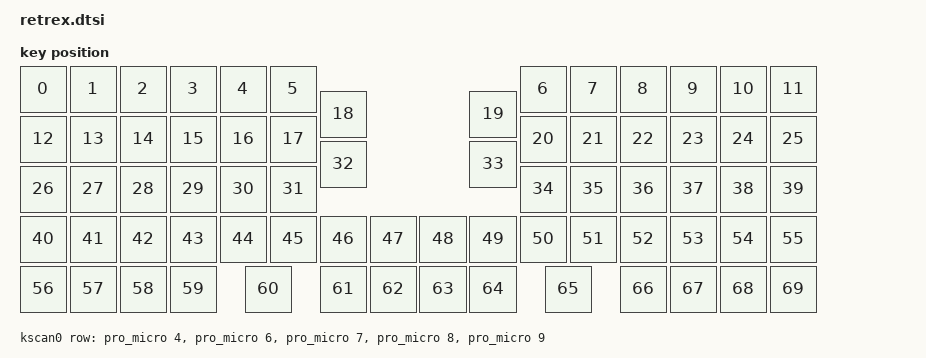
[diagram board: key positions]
/*
 * Copyright (c) 2021 The ZMK Contributors
 *
 * SPDX-License-Identifier: MIT
 */

#include <dt-bindings/zmk/matrix_transform.h>
#include <physical_layouts.dtsi>

/ {
    physical_layout0: physical_layout_0 {
        compatible = "zmk,physical-layout";
        display-name = "default_transform";

        kscan = <&kscan0>;
        transform = <&matrix_transform0>;

        keys  //                     w   h    x    y     rot    rx    ry
            = <&key_physical_attrs 100 100    0    0       0     0     0>
            , <&key_physical_attrs 100 100  100    0       0     0     0>
            , <&key_physical_attrs 100 100  200    0       0     0     0>
            , <&key_physical_attrs 100 100  300    0       0     0     0>
            , <&key_physical_attrs 100 100  400    0       0     0     0>
            , <&key_physical_attrs 100 100  500    0       0     0     0>
            , <&key_physical_attrs 100 100 1000    0       0     0     0>
            , <&key_physical_attrs 100 100 1100    0       0     0     0>
            , <&key_physical_attrs 100 100 1200    0       0     0     0>
            , <&key_physical_attrs 100 100 1300    0       0     0     0>
            , <&key_physical_attrs 100 100 1400    0       0     0     0>
            , <&key_physical_attrs 100 100 1500    0       0     0     0>
            , <&key_physical_attrs 100 100    0  100       0     0     0>
            , <&key_physical_attrs 100 100  100  100       0     0     0>
            , <&key_physical_attrs 100 100  200  100       0     0     0>
            , <&key_physical_attrs 100 100  300  100       0     0     0>
            , <&key_physical_attrs 100 100  400  100       0     0     0>
            , <&key_physical_attrs 100 100  500  100       0     0     0>
            , <&key_physical_attrs 100 100  600   50       0     0     0>
            , <&key_physical_attrs 100 100  900   50       0     0     0>
            , <&key_physical_attrs 100 100 1000  100       0     0     0>
            , <&key_physical_attrs 100 100 1100  100       0     0     0>
            , <&key_physical_attrs 100 100 1200  100       0     0     0>
            , <&key_physical_attrs 100 100 1300  100       0     0     0>
            , <&key_physical_attrs 100 100 1400  100       0     0     0>
            , <&key_physical_attrs 100 100 1500  100       0     0     0>
            , <&key_physical_attrs 100 100    0  200       0     0     0>
            , <&key_physical_attrs 100 100  100  200       0     0     0>
            , <&key_physical_attrs 100 100  200  200       0     0     0>
            , <&key_physical_attrs 100 100  300  200       0     0     0>
            , <&key_physical_attrs 100 100  400  200       0     0     0>
            , <&key_physical_attrs 100 100  500  200       0     0     0>
            , <&key_physical_attrs 100 100  600  150       0     0     0>
            , <&key_physical_attrs 100 100  900  150       0     0     0>
            , <&key_physical_attrs 100 100 1000  200       0     0     0>
            , <&key_physical_attrs 100 100 1100  200       0     0     0>
            , <&key_physical_attrs 100 100 1200  200       0     0     0>
            , <&key_physical_attrs 100 100 1300  200       0     0     0>
            , <&key_physical_attrs 100 100 1400  200       0     0     0>
            , <&key_physical_attrs 100 100 1500  200       0     0     0>
            , <&key_physical_attrs 100 100    0  300       0     0     0>
            , <&key_physical_attrs 100 100  100  300       0     0     0>
            , <&key_physical_attrs 100 100  200  300       0     0     0>
            , <&key_physical_attrs 100 100  300  300       0     0     0>
            , <&key_physical_attrs 100 100  400  300       0     0     0>
            , <&key_physical_attrs 100 100  500  300       0     0     0>
            , <&key_physical_attrs 100 100  600  300       0     0     0>
            , <&key_physical_attrs 100 100  700  300       0     0     0>
            , <&key_physical_attrs 100 100  800  300       0     0     0>
            , <&key_physical_attrs 100 100  900  300       0     0     0>
            , <&key_physical_attrs 100 100 1000  300       0     0     0>
            , <&key_physical_attrs 100 100 1100  300       0     0     0>
            , <&key_physical_attrs 100 100 1200  300       0     0     0>
            , <&key_physical_attrs 100 100 1300  300       0     0     0>
            , <&key_physical_attrs 100 100 1400  300       0     0     0>
            , <&key_physical_attrs 100 100 1500  300       0     0     0>
            , <&key_physical_attrs 100 100    0  400       0     0     0>
            , <&key_physical_attrs 100 100  100  400       0     0     0>
            , <&key_physical_attrs 100 100  200  400       0     0     0>
            , <&key_physical_attrs 100 100  300  400       0     0     0>
            , <&key_physical_attrs 100 100  450  400       0     0     0>
            , <&key_physical_attrs 100 100  600  400       0     0     0>
            , <&key_physical_attrs 100 100  700  400       0     0     0>
            , <&key_physical_attrs 100 100  800  400       0     0     0>
            , <&key_physical_attrs 100 100  900  400       0     0     0>
            , <&key_physical_attrs 100 100 1050  400       0     0     0>
            , <&key_physical_attrs 100 100 1200  400       0     0     0>
            , <&key_physical_attrs 100 100 1300  400       0     0     0>
            , <&key_physical_attrs 100 100 1400  400       0     0     0>
            , <&key_physical_attrs 100 100 1500  400       0     0     0>
            ;

    kscan0: kscan {
        compatible = "zmk,kscan-gpio-matrix";

        diode-direction = "col2row";
        row-gpios
            = <&pro_micro 4 (GPIO_ACTIVE_HIGH | GPIO_PULL_DOWN)>
            , <&pro_micro 6 (GPIO_ACTIVE_HIGH | GPIO_PULL_DOWN)>
            , <&pro_micro 7 (GPIO_ACTIVE_HIGH | GPIO_PULL_DOWN)>
            , <&pro_micro 8 (GPIO_ACTIVE_HIGH | GPIO_PULL_DOWN)>
            , <&pro_micro 9 (GPIO_ACTIVE_HIGH | GPIO_PULL_DOWN)>
            ;

    };

};
